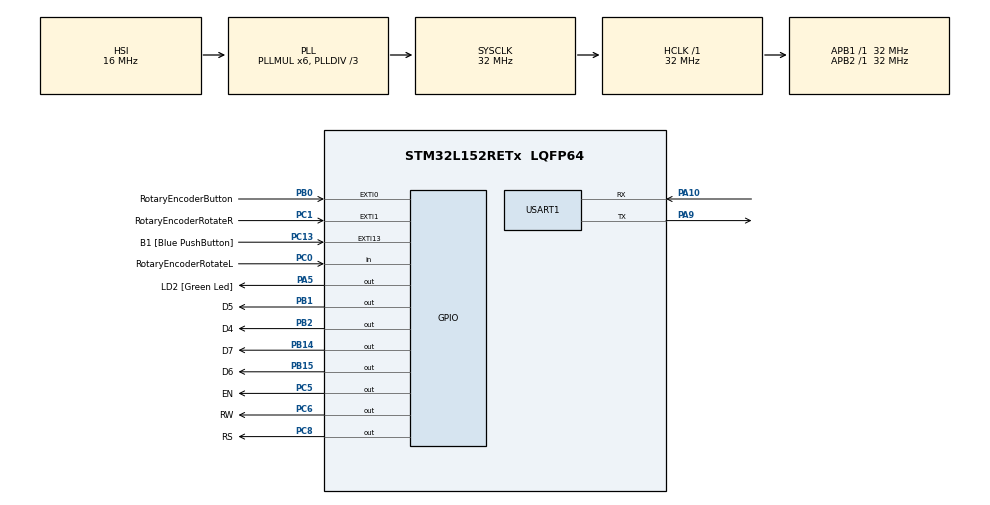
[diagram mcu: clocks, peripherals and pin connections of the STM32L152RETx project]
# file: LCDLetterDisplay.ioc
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Mcu.Family=STM32L1
Mcu.Name=STM32L152RETx
Mcu.Package=LQFP64
NVIC.EXTI0_IRQn=true\:0\:0\:false\:false\:true\:true\:true\:true
NVIC.EXTI1_IRQn=true\:0\:0\:false\:false\:true\:true\:true\:true
NVIC.PriorityGroup=NVIC_PRIORITYGROUP_0
PA10.Mode=Asynchronous
PA10.Signal=USART1_RX
PA13.GPIO_Label=TMS
PA13.Mode=Serial_Wire
PA13.Signal=SYS_JTMS-SWDIO
PA14.GPIO_Label=TCK
PA14.Mode=Serial_Wire
PA14.Signal=SYS_JTCK-SWCLK
PA2.GPIO_Label=USART_TX
PA2.Signal=USART2_TX
PA3.GPIO_Label=USART_RX
PA3.Signal=USART2_RX
PA5.GPIO_Label=LD2 [Green Led]
PA5.Signal=GPIO_Output
PA9.Mode=Asynchronous
PA9.Signal=USART1_TX
PB0.GPIO_Label=RotaryEncoderButton
PB0.GPIO_ModeDefaultEXTI=GPIO_MODE_IT_RISING_FALLING
PB0.GPIO_PuPd=GPIO_PULLUP
PB0.Signal=GPXTI0
PB1.GPIO_Label=D5
PB1.Signal=GPIO_Output
PB14.GPIO_Label=D7
PB14.Signal=GPIO_Output
PB15.GPIO_Label=D6
PB15.Signal=GPIO_Output
PB2.GPIO_Label=D4
PB2.Signal=GPIO_Output
PB3.GPIO_Label=SWO
PB3.Signal=SYS_JTDO-TRACESWO
PC0.GPIO_Label=RotaryEncoderRotateL
PC0.GPIO_PuPd=GPIO_PULLUP
PC0.Signal=GPIO_Input
PC1.GPIO_Label=RotaryEncoderRotateR
PC1.GPIO_ModeDefaultEXTI=GPIO_MODE_IT_FALLING
PC1.GPIO_PuPd=GPIO_PULLUP
PC1.Signal=GPXTI1
PC13-WKUP2.GPIO_Label=B1 [Blue PushButton]
PC13-WKUP2.Signal=GPXTI13
PC14-OSC32_IN.Mode=LSE-External-Oscillator
PC14-OSC32_IN.Signal=RCC_OSC32_IN
PC15-OSC32_OUT.Mode=LSE-External-Oscillator
PC15-OSC32_OUT.Signal=RCC_OSC32_OUT
PC5.GPIO_Label=EN
PC5.Signal=GPIO_Output
PC6.GPIO_Label=RW
PC6.Signal=GPIO_Output
PC8.GPIO_Label=RS
PC8.Signal=GPIO_Output
PH0-OSC_IN.Mode=HSE-External-Clock-Source
PH0-OSC_IN.Signal=RCC_OSC_IN
PH1-OSC_OUT.Signal=RCC_OSC_OUT
ProjectManager.HeapSize=0x200
ProjectManager.StackSize=0x400
ProjectManager.TargetToolchain=STM32CubeIDE
RCC.48MHZClocksFreq_Value=48000000
RCC.AHBFreq_Value=32000000
RCC.APB1Freq_Value=32000000
RCC.APB1TimFreq_Value=32000000
RCC.APB2Freq_Value=32000000
RCC.APB2TimFreq_Value=32000000
RCC.HCLKFreq_Value=32000000
RCC.HSE_VALUE=8000000
RCC.HSI_VALUE=16000000
RCC.MSI_VALUE=2097000
RCC.PLLDIV=RCC_PLL_DIV3
RCC.PLLMUL=RCC_PLL_MUL6
RCC.RTCClockSelectionVirtual=RCC_RTCCLKSOURCE_LSE
RCC.SYSCLKFreq_VALUE=32000000
RCC.SYSCLKSource=RCC_SYSCLKSOURCE_PLLCLK
RCC.USBOutput=48000000
RCC.VCOOutputFreq_Value=96000000
TIM2.AutoReloadPreload=TIM_AUTORELOAD_PRELOAD_ENABLE
TIM2.Prescaler=31
TIM4.Prescaler=31999
USART1.VirtualMode=VM_ASYNC
VP_TIM2_VS_ClockSourceINT.Mode=Internal
VP_TIM4_VS_ClockSourceINT.Mode=Internal
board=NUCLEO-L152RE

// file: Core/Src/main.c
/* USER CODE BEGIN Header */
/**
  ******************************************************************************
  * @file           : main.c
  * @brief          : Main program body
  ******************************************************************************
  * @attention
  *
  * Copyright (c) 2025 STMicroelectronics.
  * All rights reserved.
  *
  * This software is licensed under terms that can be found in the LICENSE file
  * in the root directory of this software component.
  * If no LICENSE file comes with this software, it is provided AS-IS.
  *
  ******************************************************************************
  */
/* USER CODE END Header */
#include "main.h"

/* USER CODE BEGIN Includes */
#include "LCDControl.h"
#include "menu.h"
#include "stm32l1xx_it.h"
#include <stdio.h>
#include <string.h>
#include <stdbool.h>
/* USER CODE END Includes */

TIM_HandleTypeDef htim2;
TIM_HandleTypeDef htim4;

UART_HandleTypeDef huart1;

/* USER CODE BEGIN PV */
char message[5];
/* USER CODE END PV */

void SystemClock_Config(void);
static void MX_GPIO_Init(void);
static void MX_TIM2_Init(void);
static void MX_USART1_UART_Init(void);
static void MX_TIM4_Init(void);
/* USER CODE BEGIN PFP */
void SendUartInt(int message);
int ButtonOptions();

/* USER CODE END PFP */

int main(void)
{

  /* MCU Configuration--------------------------------------------------------*/

  /* Reset of all peripherals, Initializes the Flash interface and the Systick. */
  HAL_Init();

  /* Configure the system clock */
  SystemClock_Config();

  /* Initialize all configured peripherals */
  MX_GPIO_Init();
  MX_TIM2_Init();
  MX_USART1_UART_Init();
  MX_TIM4_Init();
  /* USER CODE BEGIN 2 */
  HAL_TIM_Base_Start(&htim2);
  HAL_TIM_Base_Start(&htim4);

  lcd_init();
  lcd_clear();
  InitMenu();
  /* USER CODE END 2 */

  /* Infinite loop */
  while (1)
  {
    /* USER CODE BEGIN 3 */
	  PrintMenu();
  }
  /* USER CODE END 3 */
}

void SystemClock_Config(void)
{
  RCC_OscInitTypeDef RCC_OscInitStruct = {0};
  RCC_ClkInitTypeDef RCC_ClkInitStruct = {0};

  /** Configure the main internal regulator output voltage
  */
  __HAL_PWR_VOLTAGESCALING_CONFIG(PWR_REGULATOR_VOLTAGE_SCALE1);

  /** Initializes the RCC Oscillators according to the specified parameters
  * in the RCC_OscInitTypeDef structure.
  */
  RCC_OscInitStruct.OscillatorType = RCC_OSCILLATORTYPE_HSI;
  RCC_OscInitStruct.HSIState = RCC_HSI_ON;
  RCC_OscInitStruct.HSICalibrationValue = RCC_HSICALIBRATION_DEFAULT;
  RCC_OscInitStruct.PLL.PLLState = RCC_PLL_ON;
  RCC_OscInitStruct.PLL.PLLSource = RCC_PLLSOURCE_HSI;
  RCC_OscInitStruct.PLL.PLLMUL = RCC_PLL_MUL6;
  RCC_OscInitStruct.PLL.PLLDIV = RCC_PLL_DIV3;
  if (HAL_RCC_OscConfig(&RCC_OscInitStruct) != HAL_OK)
  {
    Error_Handler();
  }

  /** Initializes the CPU, AHB and APB buses clocks
  */
  RCC_ClkInitStruct.ClockType = RCC_CLOCKTYPE_HCLK|RCC_CLOCKTYPE_SYSCLK
                              |RCC_CLOCKTYPE_PCLK1|RCC_CLOCKTYPE_PCLK2;
  RCC_ClkInitStruct.SYSCLKSource = RCC_SYSCLKSOURCE_PLLCLK;
  RCC_ClkInitStruct.AHBCLKDivider = RCC_SYSCLK_DIV1;
  RCC_ClkInitStruct.APB1CLKDivider = RCC_HCLK_DIV1;
  RCC_ClkInitStruct.APB2CLKDivider = RCC_HCLK_DIV1;

  if (HAL_RCC_ClockConfig(&RCC_ClkInitStruct, FLASH_LATENCY_1) != HAL_OK)
  {
    Error_Handler();
  }
}

static void MX_TIM2_Init(void)
{

  TIM_ClockConfigTypeDef sClockSourceConfig = {0};
  TIM_MasterConfigTypeDef sMasterConfig = {0};

  htim2.Instance = TIM2;
  htim2.Init.Prescaler = 31;
  htim2.Init.CounterMode = TIM_COUNTERMODE_UP;
  htim2.Init.Period = 65535;
  htim2.Init.ClockDivision = TIM_CLOCKDIVISION_DIV1;
  htim2.Init.AutoReloadPreload = TIM_AUTORELOAD_PRELOAD_ENABLE;
  if (HAL_TIM_Base_Init(&htim2) != HAL_OK)
  {
    Error_Handler();
  }
  sClockSourceConfig.ClockSource = TIM_CLOCKSOURCE_INTERNAL;
  if (HAL_TIM_ConfigClockSource(&htim2, &sClockSourceConfig) != HAL_OK)
  {
    Error_Handler();
  }
  sMasterConfig.MasterOutputTrigger = TIM_TRGO_RESET;
  sMasterConfig.MasterSlaveMode = TIM_MASTERSLAVEMODE_DISABLE;
  if (HAL_TIMEx_MasterConfigSynchronization(&htim2, &sMasterConfig) != HAL_OK)
  {
    Error_Handler();
  }

}

static void MX_TIM4_Init(void)
{

  TIM_ClockConfigTypeDef sClockSourceConfig = {0};
  TIM_MasterConfigTypeDef sMasterConfig = {0};

  htim4.Instance = TIM4;
  htim4.Init.Prescaler = 31999;
  htim4.Init.CounterMode = TIM_COUNTERMODE_UP;
  htim4.Init.Period = 65535;
  htim4.Init.ClockDivision = TIM_CLOCKDIVISION_DIV1;
  htim4.Init.AutoReloadPreload = TIM_AUTORELOAD_PRELOAD_DISABLE;
  if (HAL_TIM_Base_Init(&htim4) != HAL_OK)
  {
    Error_Handler();
  }
  sClockSourceConfig.ClockSource = TIM_CLOCKSOURCE_INTERNAL;
  if (HAL_TIM_ConfigClockSource(&htim4, &sClockSourceConfig) != HAL_OK)
  {
    Error_Handler();
  }
  sMasterConfig.MasterOutputTrigger = TIM_TRGO_RESET;
  sMasterConfig.MasterSlaveMode = TIM_MASTERSLAVEMODE_DISABLE;
  if (HAL_TIMEx_MasterConfigSynchronization(&htim4, &sMasterConfig) != HAL_OK)
  {
    Error_Handler();
  }

}

static void MX_USART1_UART_Init(void)
{

  huart1.Instance = USART1;
  huart1.Init.BaudRate = 115200;
  huart1.Init.WordLength = UART_WORDLENGTH_8B;
  huart1.Init.StopBits = UART_STOPBITS_1;
  huart1.Init.Parity = UART_PARITY_NONE;
  huart1.Init.Mode = UART_MODE_TX_RX;
  huart1.Init.HwFlowCtl = UART_HWCONTROL_NONE;
  huart1.Init.OverSampling = UART_OVERSAMPLING_16;
  if (HAL_UART_Init(&huart1) != HAL_OK)
  {
    Error_Handler();
  }

}

static void MX_GPIO_Init(void)
{
  GPIO_InitTypeDef GPIO_InitStruct = {0};

  /* GPIO Ports Clock Enable */
  __HAL_RCC_GPIOC_CLK_ENABLE();
  __HAL_RCC_GPIOH_CLK_ENABLE();
  __HAL_RCC_GPIOA_CLK_ENABLE();
  __HAL_RCC_GPIOB_CLK_ENABLE();

  /*Configure GPIO pin Output Level */
  HAL_GPIO_WritePin(LD2_GPIO_Port, LD2_Pin, GPIO_PIN_RESET);

  /*Configure GPIO pin Output Level */
  HAL_GPIO_WritePin(GPIOC, EN_Pin|RW_Pin|RS_Pin, GPIO_PIN_RESET);

  /*Configure GPIO pin Output Level */
  HAL_GPIO_WritePin(GPIOB, D5_Pin|D4_Pin|D7_Pin|D6_Pin, GPIO_PIN_RESET);

  /*Configure GPIO pin : B1_Pin */
  GPIO_InitStruct.Pin = B1_Pin;
  GPIO_InitStruct.Mode = GPIO_MODE_IT_RISING;
  GPIO_InitStruct.Pull = GPIO_NOPULL;
  HAL_GPIO_Init(B1_GPIO_Port, &GPIO_InitStruct);

  /*Configure GPIO pin : RotaryEncoderRotateL_Pin */
  GPIO_InitStruct.Pin = RotaryEncoderRotateL_Pin;
  GPIO_InitStruct.Mode = GPIO_MODE_INPUT;
  GPIO_InitStruct.Pull = GPIO_PULLUP;
  HAL_GPIO_Init(RotaryEncoderRotateL_GPIO_Port, &GPIO_InitStruct);

  /*Configure GPIO pin : RotaryEncoderRotateR_Pin */
  GPIO_InitStruct.Pin = RotaryEncoderRotateR_Pin;
  GPIO_InitStruct.Mode = GPIO_MODE_IT_FALLING;
  GPIO_InitStruct.Pull = GPIO_PULLUP;
  HAL_GPIO_Init(RotaryEncoderRotateR_GPIO_Port, &GPIO_InitStruct);

  /*Configure GPIO pins : USART_TX_Pin USART_RX_Pin */
  GPIO_InitStruct.Pin = USART_TX_Pin|USART_RX_Pin;
  GPIO_InitStruct.Mode = GPIO_MODE_AF_PP;
  GPIO_InitStruct.Pull = GPIO_NOPULL;
  GPIO_InitStruct.Speed = GPIO_SPEED_FREQ_VERY_HIGH;
  GPIO_InitStruct.Alternate = GPIO_AF7_USART2;
  HAL_GPIO_Init(GPIOA, &GPIO_InitStruct);

  /*Configure GPIO pin : LD2_Pin */
  GPIO_InitStruct.Pin = LD2_Pin;
  GPIO_InitStruct.Mode = GPIO_MODE_OUTPUT_PP;
  GPIO_InitStruct.Pull = GPIO_NOPULL;
  GPIO_InitStruct.Speed = GPIO_SPEED_FREQ_LOW;
  HAL_GPIO_Init(LD2_GPIO_Port, &GPIO_InitStruct);

  /*Configure GPIO pins : EN_Pin RW_Pin RS_Pin */
  GPIO_InitStruct.Pin = EN_Pin|RW_Pin|RS_Pin;
  GPIO_InitStruct.Mode = GPIO_MODE_OUTPUT_PP;
  GPIO_InitStruct.Pull = GPIO_NOPULL;
  GPIO_InitStruct.Speed = GPIO_SPEED_FREQ_LOW;
  HAL_GPIO_Init(GPIOC, &GPIO_InitStruct);

  /*Configure GPIO pin : RotaryEncoderButton_Pin */
  GPIO_InitStruct.Pin = RotaryEncoderButton_Pin;
  GPIO_InitStruct.Mode = GPIO_MODE_IT_RISING_FALLING;
  GPIO_InitStruct.Pull = GPIO_PULLUP;
  HAL_GPIO_Init(RotaryEncoderButton_GPIO_Port, &GPIO_InitStruct);

  /*Configure GPIO pins : D5_Pin D4_Pin D7_Pin D6_Pin */
  GPIO_InitStruct.Pin = D5_Pin|D4_Pin|D7_Pin|D6_Pin;
  GPIO_InitStruct.Mode = GPIO_MODE_OUTPUT_PP;
  GPIO_InitStruct.Pull = GPIO_NOPULL;
  GPIO_InitStruct.Speed = GPIO_SPEED_FREQ_LOW;
  HAL_GPIO_Init(GPIOB, &GPIO_InitStruct);

  /* EXTI interrupt init*/
  HAL_NVIC_SetPriority(EXTI0_IRQn, 0, 0);
  HAL_NVIC_EnableIRQ(EXTI0_IRQn);

  HAL_NVIC_SetPriority(EXTI1_IRQn, 0, 0);
  HAL_NVIC_EnableIRQ(EXTI1_IRQn);

}

/* USER CODE BEGIN 4 */
void SendUartInt(int message)
{
    char cmessage[20];  // Buffer to hold the converted number

    // Convert int to string
    snprintf(cmessage, sizeof(cmessage), "-> %d\r\n", message);

    // Send the string over UART
    HAL_UART_Transmit(&huart1, (uint8_t *)cmessage, strlen(cmessage), HAL_MAX_DELAY);
}
/* USER CODE END 4 */

void Error_Handler(void)
{
  __disable_irq();
  while (1)
  {
  }
}
